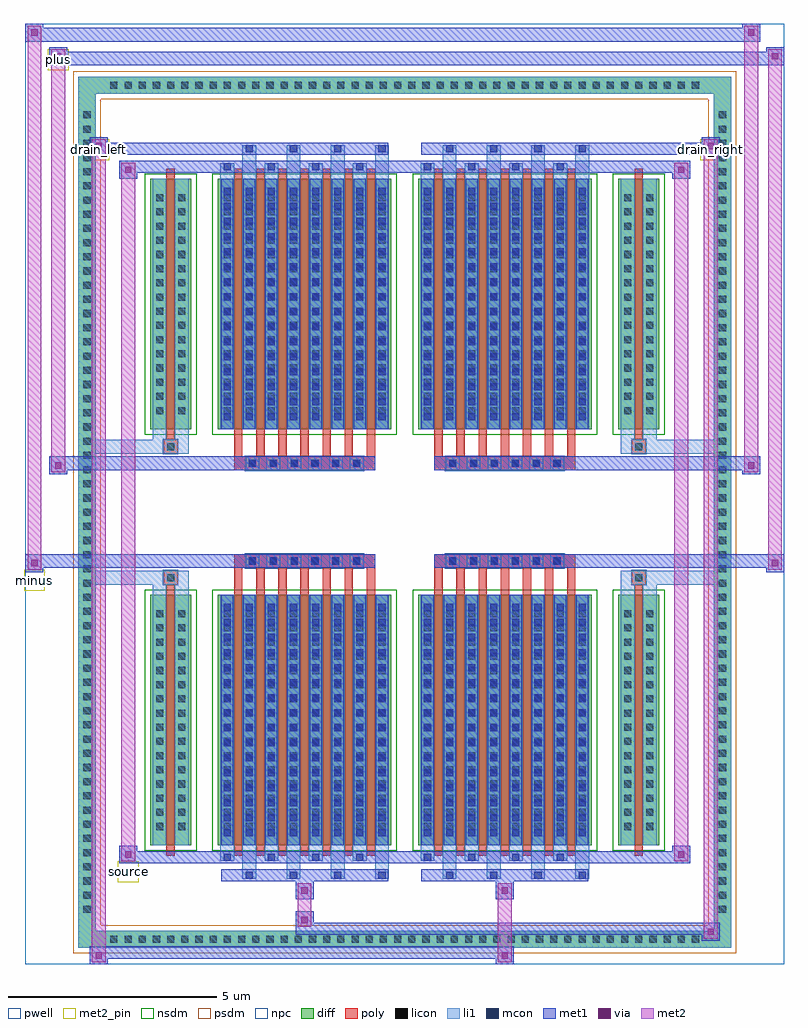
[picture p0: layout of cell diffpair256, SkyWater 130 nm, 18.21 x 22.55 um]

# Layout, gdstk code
import gdstk
lib = gdstk.Library(unit=1e-6, precision=5e-09)
def R(c, l, rs):  # rectangles x0, y0, x1, y1
    for r in rs: c.add(gdstk.rectangle(r[:2], r[2:], *l))
def A(c, l, x, y, w, h, nx, ny, dx, dy):  # array of equal rectangles
    R(c, l, [(x+i*dx, y+j*dy, x+i*dx+w, y+j*dy+h) for i in range(nx) for j in range(ny)])
def P(c, l, *ps):  # polygons
    for p in ps: c.add(gdstk.Polygon(p, *l))
pwell = (64, 44)
diff = (65, 20)
poly = (66, 20)
licon = (66, 44)
li1 = (67, 20)
mcon = (67, 44)
met1 = (68, 20)
via = (68, 44)
met2_pin = (69, 16)
met2 = (69, 20)
nsdm = (93, 44)
psdm = (94, 20)
npc = (95, 20)

diffpair256 = lib.new_cell('diffpair256')
R(diffpair256, pwell, [(-9.09,-10.84,9.09,11.71), (-6.41,-9.03,-0.01,-0.805), (0.01,-9.03,6.41,-0.805), (-6.41,0.805,-0.01,9.03), (0.01,0.805,6.41,9.03)])
A(diffpair256, diff, -7.175, -10.44, 0.41, 0.41, 42, 2, 0.34, 20.47)
A(diffpair256, diff, -7.82, -9.725, 0.41, 0.41, 1, 57, 0, 0.34)
A(diffpair256, diff, 7.41, -9.725, 0.41, 0.41, 1, 57, 0, 0.34)
R(diffpair256, diff, [(-7.175,-10.44,7.175,-10.03), (-7.82,-9.725,-7.41,9.725), (7.41,-9.725,7.82,9.725), (-6.1,-7.985,-5.12,-1.985), (-4.48,-7.985,-0.32,-1.985), (0.32,-7.985,4.48,-1.985), (5.12,-7.985,6.1,-1.985), (-6.1,1.985,-5.12,7.985), (-4.48,1.985,-0.32,7.985), (0.32,1.985,4.48,7.985), (5.12,1.985,6.1,7.985), (-7.175,10.03,7.175,10.44)])
P(diffpair256, diff, [(7.82,10.44),(-7.82,10.44),(-7.82,-10.03),(-7.41,-10.03),(-7.41,10.03),(7.41,10.03),(7.41,-10.03),(-7.41,-10.03),(-7.82,-10.03),(-7.82,-10.44),(7.82,-10.44)])
A(diffpair256, poly, -4.09, -8.235, 0.2, 6.5, 7, 2, 0.53, 9.97)
A(diffpair256, poly, 0.71, -8.235, 0.2, 6.5, 7, 2, 0.53, 9.97)
A(diffpair256, poly, -4.09, -1.735, 0.2, 0.4, 7, 2, 0.53, 3.07)
A(diffpair256, poly, 0.71, -1.735, 0.2, 0.4, 7, 2, 0.53, 3.07)
A(diffpair256, poly, -3.815, -1.335, 0.33, 0.33, 6, 2, 0.5, 2.34)
A(diffpair256, poly, 0.985, -1.335, 0.33, 0.33, 6, 2, 0.5, 2.34)
R(diffpair256, poly, [(-5.71,-8.235,-5.51,-1.735), (5.51,-8.235,5.71,-1.735), (-5.775,-1.735,-5.445,-1.405), (-5.775,-1.735,-5.445,-1.405), (5.445,-1.735,5.775,-1.405), (5.445,-1.735,5.775,-1.405), (-4.09,-1.335,-0.71,-1.005), (0.71,-1.335,4.09,-1.005), (-4.09,1.005,-0.71,1.335), (0.71,1.005,4.09,1.335), (-5.775,1.405,-5.445,1.735), (-5.775,1.405,-5.445,1.735), (5.445,1.405,5.775,1.735), (5.445,1.405,5.775,1.735), (-5.71,1.735,-5.51,8.235), (5.51,1.735,5.71,8.235)])
A(diffpair256, licon, -7.055, -10.32, 0.17, 0.17, 42, 2, 0.34, 20.47)
A(diffpair256, licon, -7.7, -9.605, 0.17, 0.17, 1, 57, 0, 0.34)
A(diffpair256, licon, 7.53, -9.605, 0.17, 0.17, 1, 57, 0, 0.34)
A(diffpair256, licon, -5.96, -7.62, 0.17, 0.17, 1, 16, 0, 0.34)
A(diffpair256, licon, -5.43, -7.62, 0.17, 0.17, 1, 16, 0, 0.34)
A(diffpair256, licon, -4.34, -7.62, 0.17, 0.17, 8, 16, 0.53, 0.34)
A(diffpair256, licon, 0.46, -7.62, 0.17, 0.17, 8, 16, 0.53, 0.34)
A(diffpair256, licon, 5.26, -7.62, 0.17, 0.17, 1, 16, 0, 0.34)
A(diffpair256, licon, 5.79, -7.62, 0.17, 0.17, 1, 16, 0, 0.34)
A(diffpair256, licon, -3.735, -1.255, 0.17, 0.17, 6, 2, 0.5, 2.34)
A(diffpair256, licon, 1.065, -1.255, 0.17, 0.17, 6, 2, 0.5, 2.34)
A(diffpair256, licon, -5.96, 2.35, 0.17, 0.17, 1, 16, 0, 0.34)
A(diffpair256, licon, -5.43, 2.35, 0.17, 0.17, 1, 16, 0, 0.34)
A(diffpair256, licon, -4.34, 2.35, 0.17, 0.17, 8, 16, 0.53, 0.34)
A(diffpair256, licon, 0.46, 2.35, 0.17, 0.17, 8, 16, 0.53, 0.34)
A(diffpair256, licon, 5.26, 2.35, 0.17, 0.17, 1, 16, 0, 0.34)
A(diffpair256, licon, 5.79, 2.35, 0.17, 0.17, 1, 16, 0, 0.34)
R(diffpair256, licon, [(-5.695,-1.655,-5.525,-1.485), (5.525,-1.655,5.695,-1.485), (-5.695,1.485,-5.525,1.655), (5.525,1.485,5.695,1.655)])
A(diffpair256, li1, -7.135, -10.4, 0.33, 0.33, 42, 2, 0.34, 20.47)
A(diffpair256, li1, -7.78, -9.685, 0.33, 0.33, 1, 57, 0, 0.34)
A(diffpair256, li1, 7.45, -9.685, 0.33, 0.33, 1, 57, 0, 0.34)
A(diffpair256, li1, -3.89, -8.79, 0.33, 0.805, 4, 2, 1.06, 16.775)
A(diffpair256, li1, -3.81, -8.79, 0.17, 0.17, 4, 2, 1.06, 17.41)
A(diffpair256, li1, 0.91, -8.79, 0.33, 0.805, 4, 2, 1.06, 16.775)
A(diffpair256, li1, 0.99, -8.79, 0.17, 0.17, 4, 2, 1.06, 17.41)
A(diffpair256, li1, -4.42, -8.36, 0.33, 0.375, 4, 2, 1.06, 16.345)
A(diffpair256, li1, -4.34, -8.36, 0.17, 0.17, 4, 2, 1.06, 16.55)
A(diffpair256, li1, 0.38, -8.36, 0.33, 0.375, 4, 2, 1.06, 16.345)
A(diffpair256, li1, 0.46, -8.36, 0.17, 0.17, 4, 2, 1.06, 16.55)
A(diffpair256, li1, -4.42, -7.985, 0.33, 6, 8, 2, 0.53, 9.97)
A(diffpair256, li1, 0.38, -7.985, 0.33, 6, 8, 2, 0.53, 9.97)
A(diffpair256, li1, -4.34, -7.77, 0.17, 0.17, 8, 16, 0.53, 0.36)
A(diffpair256, li1, -4.34, -7.77, 0.17, 5.57, 8, 2, 0.53, 9.97)
A(diffpair256, li1, 0.46, -7.77, 0.17, 0.17, 8, 16, 0.53, 0.36)
A(diffpair256, li1, 0.46, -7.77, 0.17, 5.57, 8, 2, 0.53, 9.97)
A(diffpair256, li1, -6.04, -7.7, 0.33, 0.33, 1, 16, 0, 0.34)
A(diffpair256, li1, -5.51, -7.7, 0.33, 0.33, 1, 16, 0, 0.34)
A(diffpair256, li1, -4.42, -7.7, 0.33, 0.33, 8, 16, 0.53, 0.34)
A(diffpair256, li1, 0.38, -7.7, 0.33, 0.33, 8, 16, 0.53, 0.34)
A(diffpair256, li1, 5.18, -7.7, 0.33, 0.33, 1, 16, 0, 0.34)
A(diffpair256, li1, 5.71, -7.7, 0.33, 0.33, 1, 16, 0, 0.34)
A(diffpair256, li1, -3.815, -1.335, 0.33, 0.33, 6, 2, 0.5, 2.34)
A(diffpair256, li1, 0.985, -1.335, 0.33, 0.33, 6, 2, 0.5, 2.34)
A(diffpair256, li1, -4.34, 2.2, 0.17, 0.17, 8, 16, 0.53, 0.36)
A(diffpair256, li1, 0.46, 2.2, 0.17, 0.17, 8, 16, 0.53, 0.36)
A(diffpair256, li1, -6.04, 2.27, 0.33, 0.33, 1, 16, 0, 0.34)
A(diffpair256, li1, -5.51, 2.27, 0.33, 0.33, 1, 16, 0, 0.34)
A(diffpair256, li1, -4.42, 2.27, 0.33, 0.33, 8, 16, 0.53, 0.34)
A(diffpair256, li1, 0.38, 2.27, 0.33, 0.33, 8, 16, 0.53, 0.34)
A(diffpair256, li1, 5.18, 2.27, 0.33, 0.33, 1, 16, 0, 0.34)
A(diffpair256, li1, 5.71, 2.27, 0.33, 0.33, 1, 16, 0, 0.34)
R(diffpair256, li1, [(-7.82,-10.44,-7.41,-10.03), (-7.82,-10.44,-7.41,-10.03), (-7.41,-10.44,7.41,-10.03), (7.41,-10.44,7.82,-10.03), (7.41,-10.44,7.82,-10.03), (-7.82,-10.03,-7.41,10.03), (7.41,-10.03,7.82,10.03), (-6.04,-7.985,-5.71,-1.985), (-5.51,-7.985,-5.18,-1.985), (5.18,-7.985,5.51,-1.985), (5.71,-7.985,6.04,-1.985), (-6.04,-1.985,-5.71,-1.405), (-5.51,-1.985,-5.18,-1.405), (5.18,-1.985,5.51,-1.405), (5.71,-1.985,6.04,-1.405), (-7.82,-1.735,-5.775,-1.405), (-6.04,-1.735,-5.775,-1.405), (-5.775,-1.735,-5.445,-1.405), (-5.445,-1.735,-5.18,-1.405), (5.18,-1.735,5.445,-1.405), (5.445,-1.735,5.775,-1.405), (5.445,-1.735,7.82,-1.405), (5.775,-1.735,6.04,-1.405), (-7.82,1.405,-5.775,1.735), (-6.04,1.405,-5.775,1.735), (-6.04,1.405,-5.71,1.985), (-5.775,1.405,-5.445,1.735), (-5.51,1.405,-5.18,1.985), (-5.445,1.405,-5.18,1.735), (5.18,1.405,5.445,1.735), (5.18,1.405,5.51,1.985), (5.445,1.405,5.775,1.735), (5.445,1.405,7.82,1.735), (5.71,1.405,6.04,1.985), (5.775,1.405,6.04,1.735), (-6.04,1.985,-5.71,7.985), (-5.51,1.985,-5.18,7.985), (5.18,1.985,5.51,7.985), (5.71,1.985,6.04,7.985), (-7.82,10.03,-7.41,10.44), (-7.82,10.03,-7.41,10.44), (-7.41,10.03,7.41,10.44), (7.41,10.03,7.82,10.44), (7.41,10.03,7.82,10.44)])
A(diffpair256, mcon, -3.81, -8.79, 0.17, 0.17, 4, 2, 1.06, 17.41)
A(diffpair256, mcon, 0.99, -8.79, 0.17, 0.17, 4, 2, 1.06, 17.41)
A(diffpair256, mcon, -4.34, -8.36, 0.17, 0.17, 4, 2, 1.06, 16.55)
A(diffpair256, mcon, 0.46, -8.36, 0.17, 0.17, 4, 2, 1.06, 16.55)
A(diffpair256, mcon, -4.34, -7.77, 0.17, 0.17, 8, 16, 0.53, 0.36)
A(diffpair256, mcon, 0.46, -7.77, 0.17, 0.17, 8, 16, 0.53, 0.36)
A(diffpair256, mcon, -3.735, -1.255, 0.17, 0.17, 6, 2, 0.5, 2.34)
A(diffpair256, mcon, 1.065, -1.255, 0.17, 0.17, 6, 2, 0.5, 2.34)
A(diffpair256, mcon, -4.34, 2.2, 0.17, 0.17, 8, 16, 0.53, 0.36)
A(diffpair256, mcon, 0.46, 2.2, 0.17, 0.17, 8, 16, 0.53, 0.36)
A(diffpair256, met1, -3.87, -8.85, 0.29, 0.29, 4, 2, 1.06, 17.41)
A(diffpair256, met1, 0.93, -8.85, 0.29, 0.29, 4, 2, 1.06, 17.41)
A(diffpair256, met1, -4.4, -8.42, 0.29, 0.29, 4, 2, 1.06, 16.55)
A(diffpair256, met1, 0.4, -8.42, 0.29, 0.29, 4, 2, 1.06, 16.55)
A(diffpair256, met1, -4.4, -7.985, 0.29, 6, 8, 2, 0.53, 9.97)
A(diffpair256, met1, 0.4, -7.985, 0.29, 6, 8, 2, 0.53, 9.97)
A(diffpair256, met1, -4.4, -7.83, 0.29, 0.29, 8, 16, 0.53, 0.36)
A(diffpair256, met1, 0.4, -7.83, 0.29, 0.29, 8, 16, 0.53, 0.36)
A(diffpair256, met1, -3.795, -1.315, 0.29, 0.29, 6, 2, 0.5, 2.34)
A(diffpair256, met1, 1.005, -1.315, 0.29, 0.29, 6, 2, 0.5, 2.34)
A(diffpair256, met1, -4.4, 2.14, 0.29, 0.29, 8, 16, 0.53, 0.36)
A(diffpair256, met1, 0.4, 2.14, 0.29, 0.29, 8, 16, 0.53, 0.36)
R(diffpair256, met1, [(-7.55,-10.84,-7.12,-10.41), (2.185,-10.84,2.615,-10.41), (-7.55,-10.7,2.615,-10.41), (7.12,-10.27,7.55,-9.84), (-2.615,-10.13,7.55,-9.84), (-2.615,-9.99,-2.185,-9.56), (-2.615,-9.28,-2.185,-8.85), (2.185,-9.28,2.615,-8.85), (-4.4,-8.85,-0.4,-8.56), (0.4,-8.85,4.4,-8.56), (-6.84,-8.42,-6.41,-7.99), (-6.84,-8.42,-4.4,-8.13), (-4.4,-8.42,-0.4,-8.13), (-0.4,-8.42,0.4,-8.13), (0.4,-8.42,4.4,-8.13), (4.4,-8.42,6.84,-8.13), (6.41,-8.42,6.84,-7.99), (-9.09,-1.435,-8.66,-1.005), (8.66,-1.435,9.09,-1.005), (-9.09,-1.335,-0.71,-1.005), (-4.09,-1.335,-0.71,-1.005), (0.71,-1.335,4.09,-1.005), (0.71,-1.335,9.09,-1.005), (-8.52,0.905,-8.09,1.335), (8.09,0.905,8.52,1.335), (-8.52,1.005,-4.09,1.335), (-4.09,1.005,-0.71,1.335), (0.71,1.005,4.09,1.335), (4.09,1.005,8.52,1.335), (-6.84,7.99,-6.41,8.42), (6.41,7.99,6.84,8.42), (-6.84,8.13,-4.4,8.42), (-4.4,8.13,-0.4,8.42), (-0.4,8.13,0.4,8.42), (0.4,8.13,4.4,8.42), (4.4,8.13,6.84,8.42), (-7.55,8.56,-7.12,8.99), (-7.55,8.56,-4.4,8.85), (-4.4,8.56,-0.4,8.85), (0.4,8.56,4.4,8.85), (4.4,8.56,7.55,8.85), (7.12,8.56,7.55,8.99), (-8.52,10.71,-8.09,11.14), (-8.52,10.71,-6.41,11.04), (-6.41,10.71,6.41,11.04), (6.41,10.71,9.09,11.04), (8.66,10.71,9.09,11.14), (-9.09,11.28,-8.66,11.71), (-9.09,11.28,-6.41,11.61), (-6.41,11.28,6.41,11.61), (6.41,11.28,8.52,11.61), (8.09,11.28,8.52,11.71)])
R(diffpair256, via, [(-7.41,-10.7,-7.26,-10.55), (2.325,-10.7,2.475,-10.55), (7.26,-10.13,7.41,-9.98), (-2.475,-9.85,-2.325,-9.7), (-2.475,-9.14,-2.325,-8.99), (2.325,-9.14,2.475,-8.99), (-6.7,-8.28,-6.55,-8.13), (6.55,-8.28,6.7,-8.13), (-8.95,-1.295,-8.8,-1.145), (8.8,-1.295,8.95,-1.145), (-8.38,1.045,-8.23,1.195), (8.23,1.045,8.38,1.195), (-6.7,8.13,-6.55,8.28), (6.55,8.13,6.7,8.28), (-7.41,8.7,-7.26,8.85), (7.26,8.7,7.41,8.85), (-8.38,10.85,-8.23,11), (8.8,10.85,8.95,11), (-8.95,11.42,-8.8,11.57), (8.23,11.42,8.38,11.57)])
R(diffpair256, met2_pin, [(-6.875,-8.87,-6.375,-8.37), (-9.125,-1.885,-8.625,-1.385), (-7.585,8.44,-7.085,8.94), (7.085,8.44,7.585,8.94), (-8.555,10.59,-8.055,11.09)])
R(diffpair256, met2, [(-7.5,-10.79,-7.17,-10.46), (-7.5,-10.79,-7.17,8.94), (2.235,-10.79,2.565,-10.46), (2.235,-10.46,2.565,-9.23), (7.17,-10.22,7.5,-9.89), (7.17,-10.22,7.5,8.94), (-2.565,-9.94,-2.235,-9.61), (-2.565,-9.61,-2.235,-9.23), (-2.565,-9.23,-2.235,-8.9), (2.235,-9.23,2.565,-8.9), (-6.79,-8.37,-6.46,-8.04), (-6.79,-8.37,-6.46,8.37), (6.46,-8.37,6.79,-8.04), (6.46,-8.37,6.79,8.37), (-9.04,-1.385,-8.71,-1.055), (-9.04,-1.385,-8.71,11.66), (8.71,-1.385,9.04,-1.055), (8.71,-1.385,9.04,11.09), (-8.47,0.955,-8.14,1.285), (-8.47,0.955,-8.14,11.09), (8.14,0.955,8.47,1.285), (8.14,0.955,8.47,11.66), (-6.79,8.04,-6.46,8.37), (6.46,8.04,6.79,8.37), (-7.5,8.61,-7.17,8.94), (7.17,8.61,7.5,8.94), (-8.47,10.76,-8.14,11.09), (8.71,10.76,9.04,11.09), (-9.04,11.33,-8.71,11.66), (8.14,11.33,8.47,11.66)])
P(diffpair256, met2, [(9.04,-1.385),(9.04,-1.385),(9.04,-1.055),(9.04,-1.055)],
  [(9.04,10.76),(9.04,10.76),(9.04,11.09),(9.04,11.09)],
  [(-8.71,-1.385),(-8.71,-1.385),(-8.71,-1.055),(-8.71,-1.055)],
  [(-8.71,11.33),(-8.71,11.33),(-8.71,11.66),(-8.71,11.66)],
  [(8.47,0.955),(8.47,0.955),(8.47,1.285),(8.47,1.285)],
  [(8.47,11.33),(8.47,11.33),(8.47,11.66),(8.47,11.66)],
  [(-8.14,0.955),(-8.14,0.955),(-8.14,1.285),(-8.14,1.285)],
  [(-8.14,10.76),(-8.14,10.76),(-8.14,11.09),(-8.14,11.09)],
  [(-7.17,-10.79),(-7.17,-10.79),(-7.17,-10.46),(-7.17,-10.46)],
  [(-7.17,8.61),(-7.17,8.61),(-7.17,8.94),(-7.17,8.94)],
  [(7.5,-10.22),(7.5,-10.22),(7.5,-9.89),(7.5,-9.89)],
  [(7.5,8.61),(7.5,8.61),(7.5,8.94),(7.5,8.94)],
  [(-6.46,-8.37),(-6.46,-8.37),(-6.46,-8.04),(-6.46,-8.04)],
  [(-6.46,8.04),(-6.46,8.04),(-6.46,8.37),(-6.46,8.37)],
  [(6.79,-8.37),(6.79,-8.37),(6.79,-8.04),(6.79,-8.04)],
  [(6.79,8.04),(6.79,8.04),(6.79,8.37),(6.79,8.37)])
R(diffpair256, nsdm, [(-6.23,-8.115,-4.99,-1.855), (-4.61,-8.115,-0.19,-1.855), (0.19,-8.115,4.61,-1.855), (4.99,-8.115,6.23,-1.855), (-6.23,1.855,-4.99,8.115), (-4.61,1.855,-0.19,8.115), (0.19,1.855,4.61,8.115), (4.99,1.855,6.23,8.115)])
P(diffpair256, psdm, [(7.95,10.57),(-7.95,10.57),(-7.95,-9.9),(-7.28,-9.9),(-7.28,9.9),(7.28,9.9),(7.28,-9.9),(-7.28,-9.9),(-7.95,-9.9),(-7.95,-10.57),(7.95,-10.57)])
A(diffpair256, npc, -3.835, -1.355, 0.37, 0.37, 6, 2, 0.5, 2.34)
A(diffpair256, npc, 0.965, -1.355, 0.37, 0.37, 6, 2, 0.5, 2.34)
R(diffpair256, npc, [(-5.795,-1.755,-5.425,-1.385), (5.425,-1.755,5.795,-1.385), (-3.835,-1.355,-2.965,-0.985), (-3.835,-1.355,-2.965,-0.985), (-3.335,-1.355,-2.465,-0.985), (-3.335,-1.355,-2.465,-0.985), (-2.835,-1.355,-1.965,-0.985), (-2.835,-1.355,-1.965,-0.985), (-2.335,-1.355,-1.465,-0.985), (-2.335,-1.355,-1.465,-0.985), (-1.835,-1.355,-0.965,-0.985), (-1.835,-1.355,-0.965,-0.985), (0.965,-1.355,1.835,-0.985), (0.965,-1.355,1.835,-0.985), (1.465,-1.355,2.335,-0.985), (1.465,-1.355,2.335,-0.985), (1.965,-1.355,2.835,-0.985), (1.965,-1.355,2.835,-0.985), (2.465,-1.355,3.335,-0.985), (2.465,-1.355,3.335,-0.985), (2.965,-1.355,3.835,-0.985), (2.965,-1.355,3.835,-0.985), (-3.835,0.985,-2.965,1.355), (-3.835,0.985,-2.965,1.355), (-3.335,0.985,-2.465,1.355), (-3.335,0.985,-2.465,1.355), (-2.835,0.985,-1.965,1.355), (-2.835,0.985,-1.965,1.355), (-2.335,0.985,-1.465,1.355), (-2.335,0.985,-1.465,1.355), (-1.835,0.985,-0.965,1.355), (-1.835,0.985,-0.965,1.355), (0.965,0.985,1.835,1.355), (0.965,0.985,1.835,1.355), (1.465,0.985,2.335,1.355), (1.465,0.985,2.335,1.355), (1.965,0.985,2.835,1.355), (1.965,0.985,2.835,1.355), (2.465,0.985,3.335,1.355), (2.465,0.985,3.335,1.355), (2.965,0.985,3.835,1.355), (2.965,0.985,3.835,1.355), (-5.795,1.385,-5.425,1.755), (5.425,1.385,5.795,1.755)])
diffpair256.add(gdstk.Label('minus', (-8.875,-1.635), layer=69, texttype=5))
diffpair256.add(gdstk.Label('drain_right', (7.335,8.69), layer=69, texttype=5))
diffpair256.add(gdstk.Label('drain_left', (-7.335,8.69), layer=69, texttype=5))
diffpair256.add(gdstk.Label('source', (-6.625,-8.62), layer=69, texttype=5))
diffpair256.add(gdstk.Label('plus', (-8.305,10.84), layer=69, texttype=5))

lib.write_gds('diffpair256.gds')
